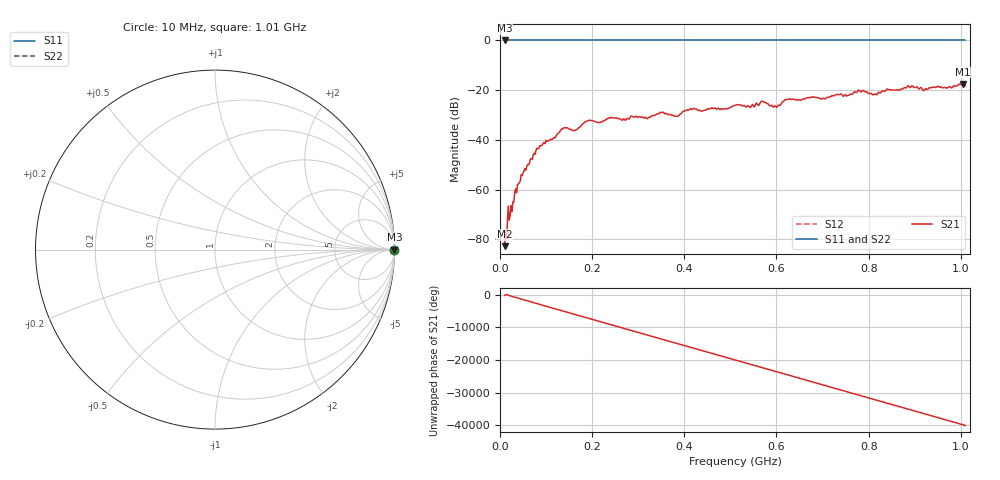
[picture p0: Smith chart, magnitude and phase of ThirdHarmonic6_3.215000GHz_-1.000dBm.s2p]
! 8/17/2025 9:48:06 AM
! C:\ANRITSUVNA\TEMP\TEMP.S2P
! CHANNEL.1
! TR.MEASUREMENT
! RAW.DATA
! RF.CORRECTION.OFF
! AVERAGING.OFF
! IF.BANDWIDTH: 5KHZ
! SWEEPTYPE:  FREQ.SWEEP(Linear)
! Reference Plane Port Info
! PORT:  PORT1  PORT2
! DISTANCE:  0  m  0  m
! TIME:  0  s  0  s
! PHASE.OFFSET:  0  deg.  0  deg.
! LOSS:  0  dB  0  dB
! REF.LOSS:  0  dB  0  dB
! REF.FREQ:  0  Hz  0  Hz
! Power Info
! POWER:  -20  dBm  -20  dBm
! EFF.POWER:  -20  dBm  -20  dBm
! SOURCE.ATTEN:  0  dB  0  dB
! TEST.ATTEN:  0  dB  0  dB
# GHZ S RI R 50.0
! FREQ.GHZ  S11RE  S11IM  S21RE  S21IM  S12RE  S12IM  S22RE  S22IM
!; PortSelection: Port_12
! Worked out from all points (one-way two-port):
!   501 points, 10 MHz to 1.01 GHz, reference 50 ohm
!   highest |S21| = -17.51 dB at 1.004 GHz (marker M1); lowest = -82.8 dB at 10 MHz (marker M2)
!   lowest |S11| = 0.0 dB at 10 MHz (marker M3)
!   |S11| at or under -10 dB: nowhere
!   |S22| runs from 0.0 to 0.0 dB; largest |S21 - S12| = 1.1
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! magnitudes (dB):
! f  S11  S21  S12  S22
! 10 MHz  0.0  -82.8  0.0  0.0
! 20 MHz  0.0  -72.3  0.0  0.0
! 24 MHz  0.0  -66.5  0.0  0.0
! 36 MHz  0.0  -61.3  0.0  0.0
! 76 MHz  0.0  -45.8  0.0  0.0
! 136 MHz  0.0  -35.7  0.0  0.0
! 162 MHz  0.0  -36.1  0.0  0.0
! 178 MHz  0.0  -33.9  0.0  0.0
! 194 MHz  0.0  -32.1  0.0  0.0
! 344 MHz  0.0  -29.5  0.0  0.0
! 384 MHz  0.0  -30.5  0.0  0.0
! 416 MHz  0.0  -27.8  0.0  0.0
! 510 MHz  0.0  -26.1  0.0  0.0
! 570 MHz  0.0  -24.5  0.0  0.0
! 596 MHz  0.0  -26.3  0.0  0.0
! 622 MHz  0.0  -23.8  0.0  0.0
! 678 MHz  0.0  -22.8  0.0  0.0
! 782 MHz  0.0  -20.6  0.0  0.0
! 814 MHz  0.0  -21.4  0.0  0.0
! 844 MHz  0.0  -19.8  0.0  0.0
! 1.004 GHz  0.0  -17.5  0.0  0.0
! 1.01 GHz  0.0  -18.2  0.0  0.0
